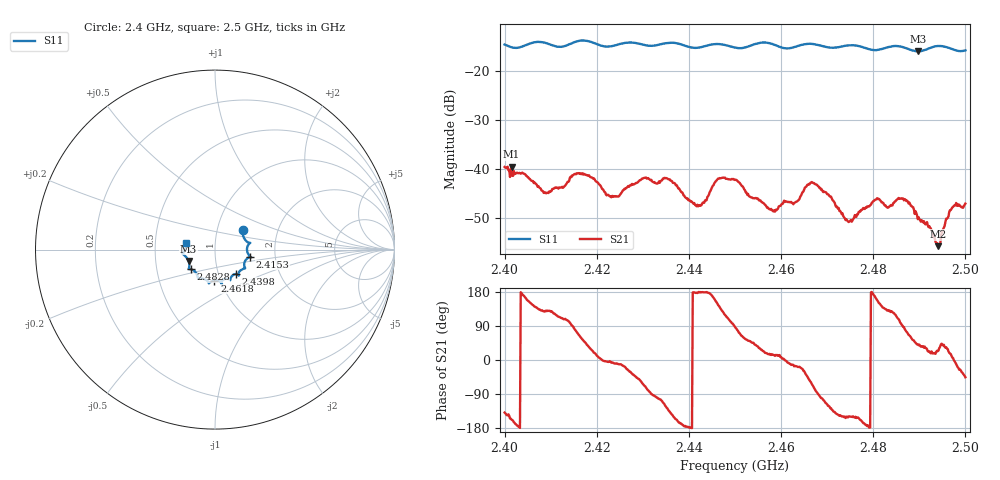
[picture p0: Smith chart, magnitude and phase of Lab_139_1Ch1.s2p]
# Hz S RI R 50
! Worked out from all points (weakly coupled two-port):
!   601 points, 2.4 GHz to 2.5 GHz, reference 50 ohm
!   highest |S21| = -39.49 dB at 2.4015 GHz (marker M1); lowest = -55.7 dB at 2.494 GHz (marker M2)
!   lowest |S11| = -15.9 dB at 2.4897 GHz (marker M3), VSWR 1.38, Z = 36.9 - j4.82 ohm
!   |S11| at or under -10 dB: start of sweep to end of sweep
!   S12 and S22 are empty: the file has one direction only
!   S11 on the Smith chart (normalised r, x): 2.4 GHz: 1.33, +0.29; 2.4153 GHz: 1.48, -0.12; 2.4398 GHz: 1.21, -0.34; 2.4618 GHz: 0.94, -0.33; 2.4828 GHz: 0.74, -0.17; 2.5 GHz: 0.72, +0.06
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2.4e9  0.1551 0.1066  -0.00791 -0.00696  0 0  0 0
2.4015e9  0.1557 0.083  -0.00978 -0.00409  0 0  0 0
2.409e9  0.1917 0.0341  -0.00355 0.00443  0 0  0 0
2.415333e9  0.1964 -0.0391  0.00172 0.0088  0 0  0 0
2.416667e9  0.2022 -0.0431  0.00477 0.00754  0 0  0 0
2.423167e9  0.1629 -0.0783  0.00512 -0.00065  0 0  0 0
2.433333e9  0.131 -0.1335  -0.00146 -0.00708  0 0  0 0
2.439833e9  0.1157 -0.1359  -0.00482 -0.000282  0 0  0 0
2.4425e9  0.0918 -0.1504  -0.0043 5.23e-05  0 0  0 0
2.446333e9  0.085 -0.1705  -0.00657 0.00459  0 0  0 0
2.45e9  0.0653 -0.1626  0.000362 0.00775  0 0  0 0
2.457833e9  0.0377 -0.1888  0.00382 0.000904  0 0  0 0
2.461833e9  -0.00295 -0.1726  0.00453 -0.000791  0 0  0 0
2.466667e9  -0.0343 -0.188  0.0033 -0.00661  0 0  0 0
2.4745e9  -0.0907 -0.1604  -0.00258 -0.00139  0 0  0 0
2.482833e9  -0.1364 -0.1092  -0.00285 0.003  0 0  0 0
2.483333e9  -0.1401 -0.1089  -0.00271 0.00305  0 0  0 0
2.4865e9  -0.1448 -0.1015  0.000252 0.005  0 0  0 0
2.489667e9  -0.1469 -0.0636  0.00232 0.00203  0 0  0 0
2.494e9  -0.1804 -0.0228  0.0015 0.000645  0 0  0 0
2.497e9  -0.1698 -0.00752  0.00389 0.000721  0 0  0 0
2.5e9  -0.1594 0.0387  0.00311 -0.00318  0 0  0 0
